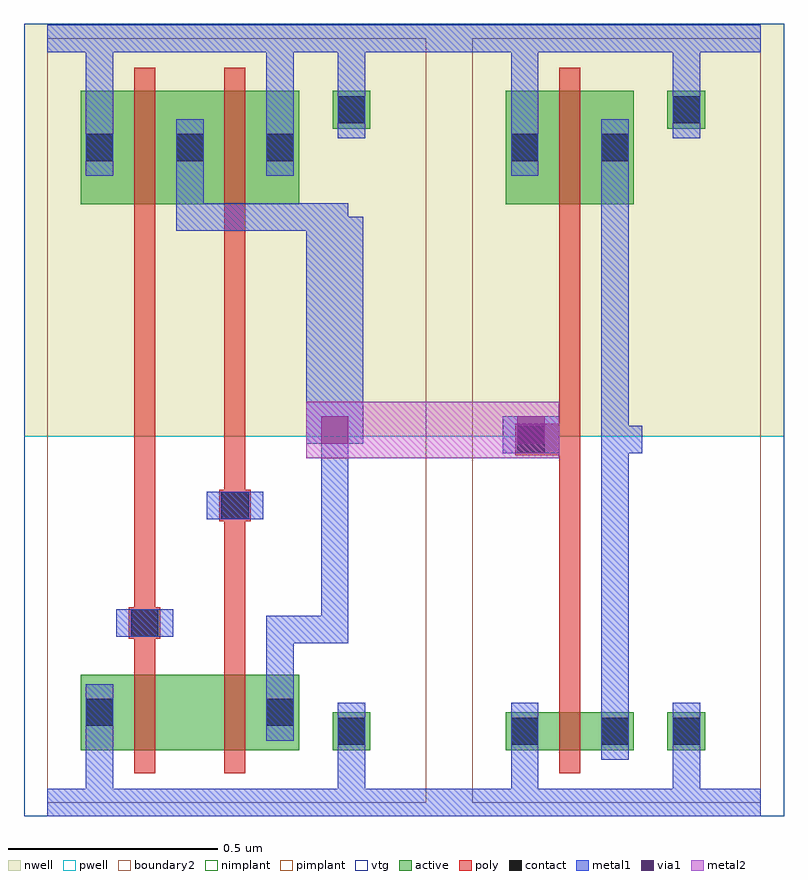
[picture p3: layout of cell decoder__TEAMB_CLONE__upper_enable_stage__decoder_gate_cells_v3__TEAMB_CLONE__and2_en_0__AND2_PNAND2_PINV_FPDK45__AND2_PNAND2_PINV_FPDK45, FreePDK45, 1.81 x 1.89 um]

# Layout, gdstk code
import gdstk
lib = gdstk.Library(unit=1e-6, precision=5e-10)
def R(c, l, rs):  # rectangles x0, y0, x1, y1
    for r in rs: c.add(gdstk.rectangle(r[:2], r[2:], *l))
active = (1, 0)
pwell = (2, 0)
nwell = (3, 0)
nimplant = (4, 0)
pimplant = (5, 0)
vtg = (6, 0)
poly = (9, 0)
contact = (10, 0)
metal1 = (11, 0)
via1 = (12, 0)
metal2 = (13, 0)
boundary2 = (239, 0)

decoder__teamb_clone__up = lib.new_cell('decoder__TEAMB_CLONE__upper_enable_stage__decoder_gate_cells_v3__TEAMB_CLONE__and2_en_0__AND2_PNAND2_PINV_FPDK45__TEAMB_CLONE__nand__PNAND2_NW180_PW270_L50_FPDK45__PNAND2_NW180_PW270_L50_FPDK45_contact_8')
R(decoder__teamb_clone__up, active, [(0,0.0225,0.09,0.1125)])
R(decoder__teamb_clone__up, nwell, [(-0.055,-0.0325,0.145,0.1675)])
R(decoder__teamb_clone__up, pimplant, [(0,0.0225,0.09,0.1125)])
R(decoder__teamb_clone__up, contact, [(0.0125,0.035,0.0775,0.1)])
R(decoder__teamb_clone__up, metal1, [(0.0125,0,0.0775,0.135)])
R(decoder__teamb_clone__up, boundary2, [(-0.055,-0.0325,0.145,0.1675)])

c_decoder__teamb_clone__up = lib.new_cell('decoder__TEAMB_CLONE__upper_enable_stage__decoder_gate_cells_v3__TEAMB_CLONE__and2_en_0__AND2_PNAND2_PINV_FPDK45__TEAMB_CLONE__nand__PNAND2_NW180_PW270_L50_FPDK45__PNAND2_NW180_PW270_L50_FPDK45_pmos_m1_w0_270_sm1_dm1')
R(c_decoder__teamb_clone__up, active, [(0,0,0.305,0.27)])
R(c_decoder__teamb_clone__up, nwell, [(-0.08,-0.08,0.385,0.35)])
R(c_decoder__teamb_clone__up, pimplant, [(0,0,0.305,0.27)])
R(c_decoder__teamb_clone__up, vtg, [(-0.08,-0.08,0.385,0.35)])
R(c_decoder__teamb_clone__up, poly, [(0.1275,-0.055,0.1775,0.325), (0.1275,-0.055,0.1775,0.325)])
R(c_decoder__teamb_clone__up, metal1, [(0.0125,0.0675,0.0775,0.2025), (0.2275,0.0675,0.2925,0.2025)])
R(c_decoder__teamb_clone__up, boundary2, [(-0.08,-0.08,0.385,0.35)])
c_decoder__teamb_clone__up.add(gdstk.Reference(decoder__teamb_clone__up, (0,0.0675)))
c_decoder__teamb_clone__up.add(gdstk.Reference(decoder__teamb_clone__up, (0.215,0.0675)))

c_decoder__teamb_clone__up_ = lib.new_cell('decoder__TEAMB_CLONE__upper_enable_stage__decoder_gate_cells_v3__TEAMB_CLONE__and2_en_0__AND2_PNAND2_PINV_FPDK45__TEAMB_CLONE__nand__PNAND2_NW180_PW270_L50_FPDK45__PNAND2_NW180_PW270_L50_FPDK45_contact_7')
R(c_decoder__teamb_clone__up_, active, [(0,0.0225,0.09,0.1125)])
R(c_decoder__teamb_clone__up_, pwell, [(-0.055,-0.0325,0.145,0.1675)])
R(c_decoder__teamb_clone__up_, nimplant, [(0,0.0225,0.09,0.1125)])
R(c_decoder__teamb_clone__up_, contact, [(0.0125,0.035,0.0775,0.1)])
R(c_decoder__teamb_clone__up_, metal1, [(0.0125,0,0.0775,0.135)])
R(c_decoder__teamb_clone__up_, boundary2, [(-0.055,-0.0325,0.145,0.1675)])

c_decoder__teamb_clone__up__ = lib.new_cell('decoder__TEAMB_CLONE__upper_enable_stage__decoder_gate_cells_v3__TEAMB_CLONE__and2_en_0__AND2_PNAND2_PINV_FPDK45__TEAMB_CLONE__nand__PNAND2_NW180_PW270_L50_FPDK45__PNAND2_NW180_PW270_L50_FPDK45_nmos_m1_w0_180_sm1_dactive')
R(c_decoder__teamb_clone__up__, active, [(0,0,0.305,0.18), (0.215,0.045,0.305,0.135)])
R(c_decoder__teamb_clone__up__, pwell, [(-0.08,-0.08,0.385,0.26)])
R(c_decoder__teamb_clone__up__, nimplant, [(0,0,0.305,0.18)])
R(c_decoder__teamb_clone__up__, vtg, [(-0.08,-0.08,0.385,0.26)])
R(c_decoder__teamb_clone__up__, poly, [(0.1275,-0.055,0.1775,0.235), (0.1275,-0.055,0.1775,0.235)])
R(c_decoder__teamb_clone__up__, metal1, [(0.0125,0.0225,0.0775,0.1575)])
R(c_decoder__teamb_clone__up__, boundary2, [(-0.08,-0.08,0.385,0.26)])
c_decoder__teamb_clone__up__.add(gdstk.Reference(c_decoder__teamb_clone__up_, (0,0.0225)))

c_decoder__teamb_clone__up___ = lib.new_cell('decoder__TEAMB_CLONE__upper_enable_stage__decoder_gate_cells_v3__TEAMB_CLONE__and2_en_0__AND2_PNAND2_PINV_FPDK45__TEAMB_CLONE__nand__PNAND2_NW180_PW270_L50_FPDK45__PNAND2_NW180_PW270_L50_FPDK45_nmos_m1_w0_180_sactive_dm1')
R(c_decoder__teamb_clone__up___, active, [(0,0,0.305,0.18), (0,0.045,0.09,0.135)])
R(c_decoder__teamb_clone__up___, pwell, [(-0.08,-0.08,0.385,0.26)])
R(c_decoder__teamb_clone__up___, nimplant, [(0,0,0.305,0.18)])
R(c_decoder__teamb_clone__up___, vtg, [(-0.08,-0.08,0.385,0.26)])
R(c_decoder__teamb_clone__up___, poly, [(0.1275,-0.055,0.1775,0.235), (0.1275,-0.055,0.1775,0.235)])
R(c_decoder__teamb_clone__up___, metal1, [(0.2275,0.0225,0.2925,0.1575)])
R(c_decoder__teamb_clone__up___, boundary2, [(-0.08,-0.08,0.385,0.26)])
c_decoder__teamb_clone__up___.add(gdstk.Reference(c_decoder__teamb_clone__up_, (0.215,0.0225)))

c_decoder__teamb_clone__up____ = lib.new_cell('decoder__TEAMB_CLONE__upper_enable_stage__decoder_gate_cells_v3__TEAMB_CLONE__and2_en_0__AND2_PNAND2_PINV_FPDK45__TEAMB_CLONE__nand__PNAND2_NW180_PW270_L50_FPDK45__PNAND2_NW180_PW270_L50_FPDK45_contact_9')
R(c_decoder__teamb_clone__up____, active, [(0,0.0225,0.09,0.1125)])
R(c_decoder__teamb_clone__up____, nwell, [(-0.055,-0.0325,0.145,0.1675)])
R(c_decoder__teamb_clone__up____, nimplant, [(0,0.0225,0.09,0.1125)])
R(c_decoder__teamb_clone__up____, contact, [(0.0125,0.035,0.0775,0.1)])
R(c_decoder__teamb_clone__up____, metal1, [(0.0125,0,0.0775,0.135)])
R(c_decoder__teamb_clone__up____, boundary2, [(-0.055,-0.0325,0.145,0.1675)])

c_decoder__teamb_clone__up_____ = lib.new_cell('decoder__TEAMB_CLONE__upper_enable_stage__decoder_gate_cells_v3__TEAMB_CLONE__and2_en_0__AND2_PNAND2_PINV_FPDK45__TEAMB_CLONE__nand__PNAND2_NW180_PW270_L50_FPDK45__PNAND2_NW180_PW270_L50_FPDK45_contact_10')
R(c_decoder__teamb_clone__up_____, active, [(0,0.0225,0.09,0.1125)])
R(c_decoder__teamb_clone__up_____, pwell, [(-0.055,-0.0325,0.145,0.1675)])
R(c_decoder__teamb_clone__up_____, pimplant, [(0,0.0225,0.09,0.1125)])
R(c_decoder__teamb_clone__up_____, contact, [(0.0125,0.035,0.0775,0.1)])
R(c_decoder__teamb_clone__up_____, metal1, [(0.0125,0,0.0775,0.135)])
R(c_decoder__teamb_clone__up_____, boundary2, [(-0.055,-0.0325,0.145,0.1675)])

c_decoder__teamb_clone__up______ = lib.new_cell('decoder__TEAMB_CLONE__upper_enable_stage__decoder_gate_cells_v3__TEAMB_CLONE__and2_en_0__AND2_PNAND2_PINV_FPDK45__TEAMB_CLONE__nand__PNAND2_NW180_PW270_L50_FPDK45__PNAND2_NW180_PW270_L50_FPDK45_contact_11')
R(c_decoder__teamb_clone__up______, poly, [(0.03,0,0.105,0.075)])
R(c_decoder__teamb_clone__up______, contact, [(0.035,0.005,0.1,0.07)])
R(c_decoder__teamb_clone__up______, metal1, [(0,0.005,0.135,0.07)])
R(c_decoder__teamb_clone__up______, boundary2, [(0,0,0.135,0.075)])

c_decoder__teamb_clone__up_______ = lib.new_cell('decoder__TEAMB_CLONE__upper_enable_stage__decoder_gate_cells_v3__TEAMB_CLONE__and2_en_0__AND2_PNAND2_PINV_FPDK45__TEAMB_CLONE__nand__PNAND2_NW180_PW270_L50_FPDK45__PNAND2_NW180_PW270_L50_FPDK45_pnand2')
R(c_decoder__teamb_clone__up_______, pwell, [(-0.055,-0.0325,0.9575,0.8725)])
R(c_decoder__teamb_clone__up_______, nwell, [(-0.055,0.8725,0.9575,1.855)])
R(c_decoder__teamb_clone__up_______, vtg, [(-0.055,-0.0325,0.9575,0.8725), (-0.055,0.8725,0.9575,1.855)])
R(c_decoder__teamb_clone__up_______, poly, [(0.2075,0.36,0.2575,1.37), (0.4225,0.36,0.4725,1.37), (0.2075,0.39,0.2325,0.465), (0.4225,0.67,0.4475,0.745)])
R(c_decoder__teamb_clone__up_______, metal1, [(0,-0.0325,0.9025,0.0325), (0.0925,-0.0325,0.1575,0.1475), (0.6925,0,0.7575,0.17), (0.5225,0.2825,0.5875,0.4125), (0.5225,0.38,0.5875,0.445), (0.555,0.38,0.685,0.445), (0.6525,0.38,0.7175,0.445), (0.165,0.395,0.3,0.46), (0.6525,0.4125,0.7175,1.395), (0.38,0.675,0.515,0.74), (0.3075,1.3625,0.3725,1.4275), (0.34,1.3625,0.685,1.4275), (0.6525,1.3625,0.7175,1.4275), (0.3075,1.395,0.3725,1.4925), (0.0925,1.4925,0.1575,1.8525), (0.5225,1.4925,0.5875,1.8525), (0.6925,1.65,0.7575,1.82), (0,1.7875,0.9025,1.8525)])
R(c_decoder__teamb_clone__up_______, boundary2, [(0,0,0.9025,1.82), (0,0,0.9025,1.82)])
c_decoder__teamb_clone__up_______.add(gdstk.Reference(c_decoder__teamb_clone__up, (0.08,1.425)))
c_decoder__teamb_clone__up_______.add(gdstk.Reference(c_decoder__teamb_clone__up, (0.295,1.425)))
c_decoder__teamb_clone__up_______.add(gdstk.Reference(c_decoder__teamb_clone__up__, (0.08,0.125)))
c_decoder__teamb_clone__up_______.add(gdstk.Reference(c_decoder__teamb_clone__up___, (0.295,0.125)))
c_decoder__teamb_clone__up_______.add(gdstk.Reference(c_decoder__teamb_clone__up____, (0.68,1.5825)))
c_decoder__teamb_clone__up_______.add(gdstk.Reference(c_decoder__teamb_clone__up_____, (0.68,0.1025)))
c_decoder__teamb_clone__up_______.add(gdstk.Reference(c_decoder__teamb_clone__up______, (0.165,0.39)))
c_decoder__teamb_clone__up_______.add(gdstk.Reference(c_decoder__teamb_clone__up______, (0.38,0.67)))

c_decoder__teamb_clone__up________ = lib.new_cell('decoder__TEAMB_CLONE__upper_enable_stage__decoder_gate_cells_v3__TEAMB_CLONE__and2_en_0__AND2_PNAND2_PINV_FPDK45__TEAMB_CLONE__nand__PNAND2_NW180_PW270_L50_FPDK45__PNAND2_NW180_PW270_L50_FPDK45')
R(c_decoder__teamb_clone__up________, metal1, [(0,-0.0325,0.9025,0.0325), (0.165,0.395,0.3,0.46), (0.38,0.675,0.515,0.74), (0.6525,1.3625,0.7175,1.4275), (0,1.7875,0.9025,1.8525)])
R(c_decoder__teamb_clone__up________, boundary2, [(0,0,0.9025,1.82)])
c_decoder__teamb_clone__up________.add(gdstk.Reference(c_decoder__teamb_clone__up_______, (0,0)))

c_decoder__teamb_clone__up_________ = lib.new_cell('decoder__TEAMB_CLONE__upper_enable_stage__decoder_gate_cells_v3__TEAMB_CLONE__and2_en_0__AND2_PNAND2_PINV_FPDK45__TEAMB_CLONE__inv__PINV_NW90_PW270_L50__TRANSMISSION_GATE_NW250_PW500_L50_contact_8')
R(c_decoder__teamb_clone__up_________, active, [(0,0.0225,0.09,0.1125)])
R(c_decoder__teamb_clone__up_________, nwell, [(-0.055,-0.0325,0.145,0.1675)])
R(c_decoder__teamb_clone__up_________, pimplant, [(0,0.0225,0.09,0.1125)])
R(c_decoder__teamb_clone__up_________, contact, [(0.0125,0.035,0.0775,0.1)])
R(c_decoder__teamb_clone__up_________, metal1, [(0.0125,0,0.0775,0.135)])
R(c_decoder__teamb_clone__up_________, boundary2, [(-0.055,-0.0325,0.145,0.1675)])

c_decoder__teamb_clone__up__________ = lib.new_cell('decoder__TEAMB_CLONE__upper_enable_stage__decoder_gate_cells_v3__TEAMB_CLONE__and2_en_0__AND2_PNAND2_PINV_FPDK45__TEAMB_CLONE__inv__PINV_NW90_PW270_L50__PINV_NW180_PW270_L50_pmos_m1_w0_270_sm1_dm1_da_p')
R(c_decoder__teamb_clone__up__________, active, [(0,0,0.305,0.27)])
R(c_decoder__teamb_clone__up__________, nwell, [(-0.08,-0.08,0.385,0.35)])
R(c_decoder__teamb_clone__up__________, pimplant, [(0,0,0.305,0.27)])
R(c_decoder__teamb_clone__up__________, vtg, [(-0.08,-0.08,0.385,0.35)])
R(c_decoder__teamb_clone__up__________, poly, [(0.1275,-0.055,0.1775,0.325), (0.1275,-0.055,0.1775,0.325)])
R(c_decoder__teamb_clone__up__________, metal1, [(0.0125,0.0675,0.0775,0.2025), (0.2275,0.0675,0.2925,0.2025)])
R(c_decoder__teamb_clone__up__________, boundary2, [(-0.08,-0.08,0.385,0.35)])
c_decoder__teamb_clone__up__________.add(gdstk.Reference(c_decoder__teamb_clone__up_________, (0,0.0675)))
c_decoder__teamb_clone__up__________.add(gdstk.Reference(c_decoder__teamb_clone__up_________, (0.215,0.0675)))

c_decoder__teamb_clone__up___________ = lib.new_cell('decoder__TEAMB_CLONE__upper_enable_stage__decoder_gate_cells_v3__TEAMB_CLONE__and2_en_0__AND2_PNAND2_PINV_FPDK45__TEAMB_CLONE__inv__PINV_NW90_PW270_L50__TRANSMISSION_GATE_NW250_PW500_L50_contact_7')
R(c_decoder__teamb_clone__up___________, active, [(0,0.0225,0.09,0.1125)])
R(c_decoder__teamb_clone__up___________, pwell, [(-0.055,-0.0325,0.145,0.1675)])
R(c_decoder__teamb_clone__up___________, nimplant, [(0,0.0225,0.09,0.1125)])
R(c_decoder__teamb_clone__up___________, contact, [(0.0125,0.035,0.0775,0.1)])
R(c_decoder__teamb_clone__up___________, metal1, [(0.0125,0,0.0775,0.135)])
R(c_decoder__teamb_clone__up___________, boundary2, [(-0.055,-0.0325,0.145,0.1675)])

c_decoder__teamb_clone__up____________ = lib.new_cell('decoder__TEAMB_CLONE__upper_enable_stage__decoder_gate_cells_v3__TEAMB_CLONE__and2_en_0__AND2_PNAND2_PINV_FPDK45__TEAMB_CLONE__inv__PINV_NW90_PW270_L50__PINV_NW90_PW270_L50_nmos_m1_w0_090_sm1_dm1_da_p')
R(c_decoder__teamb_clone__up____________, active, [(0,0,0.305,0.09)])
R(c_decoder__teamb_clone__up____________, pwell, [(-0.08,-0.08,0.385,0.17)])
R(c_decoder__teamb_clone__up____________, nimplant, [(0,0,0.305,0.09)])
R(c_decoder__teamb_clone__up____________, vtg, [(-0.08,-0.08,0.385,0.17)])
R(c_decoder__teamb_clone__up____________, poly, [(0.1275,-0.055,0.1775,0.145), (0.1275,-0.055,0.1775,0.145)])
R(c_decoder__teamb_clone__up____________, metal1, [(0.0125,-0.0225,0.0775,0.1125), (0.2275,-0.0225,0.2925,0.1125)])
R(c_decoder__teamb_clone__up____________, boundary2, [(-0.08,-0.08,0.385,0.17)])
c_decoder__teamb_clone__up____________.add(gdstk.Reference(c_decoder__teamb_clone__up___________, (0,-0.0225)))
c_decoder__teamb_clone__up____________.add(gdstk.Reference(c_decoder__teamb_clone__up___________, (0.215,-0.0225)))

c_decoder__teamb_clone__up_____________ = lib.new_cell('decoder__TEAMB_CLONE__upper_enable_stage__decoder_gate_cells_v3__TEAMB_CLONE__and2_en_0__AND2_PNAND2_PINV_FPDK45__TEAMB_CLONE__inv__PINV_NW90_PW270_L50__TRANSMISSION_GATE_NW250_PW500_L50_contact_9')
R(c_decoder__teamb_clone__up_____________, active, [(0,0.0225,0.09,0.1125)])
R(c_decoder__teamb_clone__up_____________, nwell, [(-0.055,-0.0325,0.145,0.1675)])
R(c_decoder__teamb_clone__up_____________, nimplant, [(0,0.0225,0.09,0.1125)])
R(c_decoder__teamb_clone__up_____________, contact, [(0.0125,0.035,0.0775,0.1)])
R(c_decoder__teamb_clone__up_____________, metal1, [(0.0125,0,0.0775,0.135)])
R(c_decoder__teamb_clone__up_____________, boundary2, [(-0.055,-0.0325,0.145,0.1675)])

c_decoder__teamb_clone__up______________ = lib.new_cell('decoder__TEAMB_CLONE__upper_enable_stage__decoder_gate_cells_v3__TEAMB_CLONE__and2_en_0__AND2_PNAND2_PINV_FPDK45__TEAMB_CLONE__inv__PINV_NW90_PW270_L50__TRANSMISSION_GATE_NW250_PW500_L50_contact_10')
R(c_decoder__teamb_clone__up______________, active, [(0,0.0225,0.09,0.1125)])
R(c_decoder__teamb_clone__up______________, pwell, [(-0.055,-0.0325,0.145,0.1675)])
R(c_decoder__teamb_clone__up______________, pimplant, [(0,0.0225,0.09,0.1125)])
R(c_decoder__teamb_clone__up______________, contact, [(0.0125,0.035,0.0775,0.1)])
R(c_decoder__teamb_clone__up______________, metal1, [(0.0125,0,0.0775,0.135)])
R(c_decoder__teamb_clone__up______________, boundary2, [(-0.055,-0.0325,0.145,0.1675)])

c_decoder__teamb_clone__up_______________ = lib.new_cell('decoder__TEAMB_CLONE__upper_enable_stage__decoder_gate_cells_v3__TEAMB_CLONE__and2_en_0__AND2_PNAND2_PINV_FPDK45__TEAMB_CLONE__inv__PINV_NW90_PW270_L50__PINV_NW180_PW270_L50_contact_11')
R(c_decoder__teamb_clone__up_______________, poly, [(0.03,0,0.105,0.075)])
R(c_decoder__teamb_clone__up_______________, contact, [(0.035,0.005,0.1,0.07)])
R(c_decoder__teamb_clone__up_______________, metal1, [(0,0.005,0.135,0.07)])
R(c_decoder__teamb_clone__up_______________, boundary2, [(0,0,0.135,0.075)])

c_decoder__teamb_clone__up________________ = lib.new_cell('decoder__TEAMB_CLONE__upper_enable_stage__decoder_gate_cells_v3__TEAMB_CLONE__and2_en_0__AND2_PNAND2_PINV_FPDK45__TEAMB_CLONE__inv__PINV_NW90_PW270_L50__PINV_NW90_PW270_L50_core')
R(c_decoder__teamb_clone__up________________, pwell, [(-0.055,-0.0325,0.7425,0.8725)])
R(c_decoder__teamb_clone__up________________, nwell, [(-0.055,0.8725,0.7425,1.855)])
R(c_decoder__teamb_clone__up________________, vtg, [(-0.055,-0.0325,0.7425,0.8725), (-0.055,0.8725,0.7425,1.855)])
R(c_decoder__teamb_clone__up________________, poly, [(0.2075,0.27,0.2575,1.37), (0.14,0.8275,0.2075,0.9025)])
R(c_decoder__teamb_clone__up________________, metal1, [(0,-0.0325,0.6875,0.0325), (0.0925,-0.0325,0.1575,0.1025), (0.4775,0,0.5425,0.17), (0.3075,0.1025,0.3725,1.6275), (0.0725,0.8325,0.2075,0.8975), (0.34,0.8325,0.405,0.8975), (0.0925,1.4925,0.1575,1.8525), (0.4775,1.65,0.5425,1.82), (0,1.7875,0.6875,1.8525)])
R(c_decoder__teamb_clone__up________________, boundary2, [(0,0,0.6875,1.82), (0,0,0.6875,1.82)])
c_decoder__teamb_clone__up________________.add(gdstk.Reference(c_decoder__teamb_clone__up__________, (0.08,1.425)))
c_decoder__teamb_clone__up________________.add(gdstk.Reference(c_decoder__teamb_clone__up____________, (0.08,0.125)))
c_decoder__teamb_clone__up________________.add(gdstk.Reference(c_decoder__teamb_clone__up_____________, (0.465,1.5825)))
c_decoder__teamb_clone__up________________.add(gdstk.Reference(c_decoder__teamb_clone__up______________, (0.465,0.1025)))
c_decoder__teamb_clone__up________________.add(gdstk.Reference(c_decoder__teamb_clone__up_______________, (0.0725,0.8275)))

c_decoder__teamb_clone__up_________________ = lib.new_cell('decoder__TEAMB_CLONE__upper_enable_stage__decoder_gate_cells_v3__TEAMB_CLONE__and2_en_0__AND2_PNAND2_PINV_FPDK45__TEAMB_CLONE__inv__PINV_NW90_PW270_L50__PINV_NW90_PW270_L50')
R(c_decoder__teamb_clone__up_________________, metal1, [(0,-0.0325,0.6875,0.0325), (0.0725,0.8325,0.2075,0.8975), (0.34,0.8325,0.405,0.8975), (0,1.7875,0.6875,1.8525)])
R(c_decoder__teamb_clone__up_________________, boundary2, [(0,0,0.6875,1.82)])
c_decoder__teamb_clone__up_________________.add(gdstk.Reference(c_decoder__teamb_clone__up________________, (0,0)))

c_decoder__teamb_clone__up__________________ = lib.new_cell('decoder__TEAMB_CLONE__upper_enable_stage__decoder_gate_cells_v3__TEAMB_CLONE__and2_en_0__AND2_PNAND2_PINV_FPDK45__AND2_PNAND2_PINV_FPDK45')
R(c_decoder__teamb_clone__up__________________, metal1, [(0.055,0,1.755,0.065), (0.6725,0.8875,0.8075,1.4275), (1.14,0.8875,1.275,0.9525), (0.055,1.82,1.755,1.885)])
R(c_decoder__teamb_clone__up__________________, via1, [(0.7075,0.8875,0.7725,0.9525), (1.175,0.8875,1.24,0.9525)])
R(c_decoder__teamb_clone__up__________________, metal2, [(0.6725,0.8525,0.8075,0.9875), (0.74,0.8525,1.2075,0.9875), (1.14,0.8525,1.275,0.9875)])
c_decoder__teamb_clone__up__________________.add(gdstk.Reference(c_decoder__teamb_clone__up________, (0.055,0.0325)))
c_decoder__teamb_clone__up__________________.add(gdstk.Reference(c_decoder__teamb_clone__up_________________, (1.0675,0.0325)))

lib.write_gds('decoder__TEAMB_CLONE__upper_enable_stage__decoder_gate_cells_v3__TEAMB_CLONE__and2_en_0__AND2_PNAND2_PINV_FPDK45__AND2_PNAND2_PINV_FPDK45.gds')
